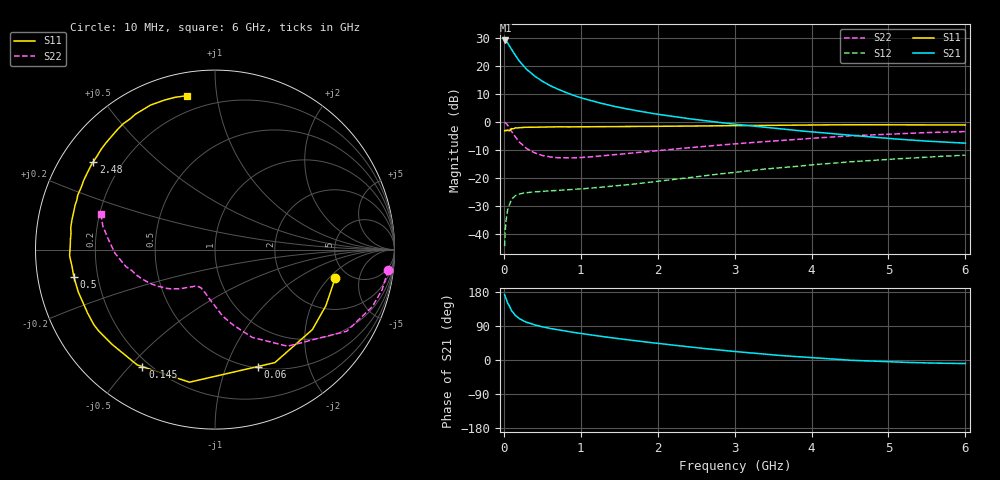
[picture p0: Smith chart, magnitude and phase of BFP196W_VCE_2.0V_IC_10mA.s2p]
! Infineon Technologies  Discrete & RF Semiconductors
! BFP196W
! VCE = 2.0 V,  IC =  10mA
! Common Emitter S-Parameters:  Jan 2016
# GHz  S  MA  R  50
!  f  S11  S21  S12  S22
! GHz  MAG  ANG  MAG  ANG  MAG  ANG  MAG  ANG
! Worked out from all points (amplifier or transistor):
!   210 points, 10 MHz to 6 GHz, reference 50 ohm
!   highest |S21| = 29.0 dB at 20 MHz (marker M1)
!   |S21| within 3 dB of that: start of sweep to 96.52 MHz
!   unconditionally stable (mu >= 1): 1.171 GHz to 3.332 GHz
!   at 185 MHz: K = 0.22, MSG = 24.2 dB, |S12| = -26.0 dB
!   at 1.52 GHz: K = 1.14, MAG = 11.6 dB, |S12| = -22.8 dB
!   at 6 GHz: K = 0.95, MSG = 2.1 dB, |S12| = -11.9 dB
!   S11 on the Smith chart (normalised r, x): 10 MHz: 3.91, -2.37; 60 MHz: 0.52, -1.30; 145 MHz: 0.17, -0.54; 500 MHz: 0.11, -0.09; 2.48 GHz: 0.10, +0.32; 6 GHz: 0.12, +0.83
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0.01  0.6883 -13.4  28.01 172.1  0.006 81.0  0.972 -6.8
0.02  0.6923 -26.9  28.1 167.3  0.0121 78.2  0.9575 -13.5
0.03  0.7021 -39.4  27.42 161.4  0.0175 72.6  0.9327 -19.9
0.05  0.7125 -62.1  25.42 150.1  0.0268 62.7  0.8632 -31.8
0.06  0.6937 -69.9  24.05 146.9  0.0294 57.8  0.8174 -35.2
0.1  0.7523 -100.9  19.58 130.1  0.0411 45.0  0.6729 -53.1
0.145  0.7673 -121.8  15.62 118.9  0.0472 36.0  0.5437 -65.3
0.15  0.775 -124.0  15.23 117.3  0.0479 35.2  0.5313 -67.0
0.2  0.7799 -137.5  12.09 109.3  0.051 30.2  0.4342 -76.2
0.26  0.7942 -148.2  9.716 102.8  0.0533 26.5  0.3657 -84.1
0.3  0.793 -153.6  8.465 99.2  0.054 25.0  0.3277 -88.2
0.4  0.7974 -162.8  6.496 92.6  0.0559 23.4  0.2778 -96.4
0.5  0.801 -169.1  5.258 87.5  0.0571 23.2  0.2496 -102.2
0.7  0.8109 -177.6  3.809 79.6  0.0593 25.3  0.2268 -109.9
1.02  0.8081 173.2  2.618 69.5  0.0633 29.7  0.2301 -117.9
1.42  0.8161 164.1  1.897 58.2  0.0707 36.2  0.2559 -124.7
2.02  0.8268 152.4  1.343 43.5  0.0868 44.0  0.3059 -134.4
2.48  0.8356 144.3  1.098 33.1  0.1032 46.9  0.3495 -142.2
3.1  0.852 134.0  0.874 20.7  0.1293 47.3  0.4108 -153.3
4.1  0.8755 119.1  0.641 4.8  0.1737 43.0  0.5143 -171.0
5.1  0.8786 107.9  0.49 -5.4  0.2162 35.9  0.6051 173.1
6  0.8718 100.4  0.413 -9.4  0.2529 29.3  0.6654 162.8
